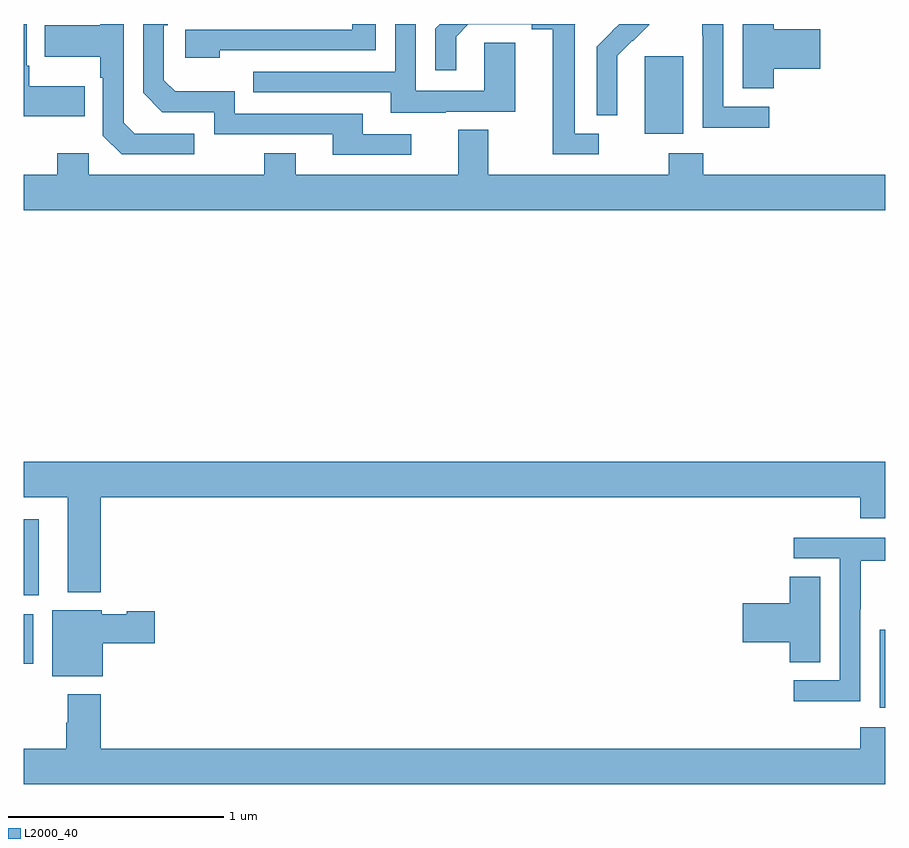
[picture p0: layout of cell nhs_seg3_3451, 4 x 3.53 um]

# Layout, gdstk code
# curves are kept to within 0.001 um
import gdstk
lib = gdstk.Library(unit=1e-6, precision=1e-09)
def R(c, l, rs):  # rectangles x0, y0, x1, y1
    for r in rs: c.add(gdstk.rectangle(r[:2], r[2:], *l))
def P(c, l, *ps):  # polygons
    for p in ps: c.add(gdstk.Polygon(p, *l))
L2000_40 = (2000, 40)

nhs_seg3_3451 = lib.new_cell('nhs_seg3_3451')
R(nhs_seg3_3451, L2000_40, [(292.973,745.226,293,745.587), (289,745.43,289.045,745.66), (289,745.748,289.069,746.101), (291.884,747.89,292.063,748.251)])
P(nhs_seg3_3451, L2000_40, [(289.792,747.891),(289.515,747.891),(289.464,747.942),(289.464,748.4),(289.356,748.4),(289.356,748.395),(289.099,748.395),(289.099,748.247),(289.356,748.247),(289.356,748.151),(289.368,748.151),(289.368,747.882),(289.455,747.795),(289.792,747.795)],
  [(291.756,748.13),(291.755,748.253),(291.825,748.323),(291.828,748.32),(291.905,748.397),(291.905,748.4),(291.764,748.4),(291.66,748.294),(291.66,747.976),(291.756,747.976)],
  [(289.91,748.278),(290.634,748.278),(290.634,748.4),(290.525,748.4),(290.525,748.374),(289.749,748.374),(289.749,748.244),(289.91,748.244)],
  [(290.959,747.993),(291.283,747.993),(291.283,748.313),(291.138,748.313),(291.138,748.089),(290.82,748.089),(290.82,748.4),(290.724,748.4),(290.724,748.179),(290.065,748.179),(290.065,748.083),(290.705,748.083),(290.705,747.989),(290.959,747.989)],
  [(292.462,748.017),(292.248,748.017),(292.248,748.4),(292.15,748.4),(292.15,748.348),(292.152,748.348),(292.152,747.919),(292.462,747.919)],
  [(291.67,747.891),(291.559,747.891),(291.56,748.4),(290.932,748.4),(290.91,748.378),(290.91,748.185),(291.007,748.185),(291.007,748.341),(291.064,748.398),(291.359,748.398),(291.359,748.376),(291.455,748.376),(291.455,747.795),(291.67,747.795)],
  [(292.481,748.193),(292.699,748.193),(292.699,748.376),(292.481,748.376),(292.481,748.4),(292.337,748.4),(292.337,748.102),(292.481,748.102)],
  [(290.8,747.888),(290.575,747.888),(290.575,747.984),(289.98,747.984),(289.98,748.087),(289.703,748.087),(289.65,748.14),(289.65,748.394),(289.67,748.394),(289.67,748.4),(289.554,748.4),(289.554,748.08),(289.644,747.99),(289.884,747.99),(289.884,747.888),(290.435,747.888),(290.435,747.792),(290.8,747.792)],
  [(289.283,748.111),(289.027,748.111),(289.027,748.207),(289.014,748.207),(289.014,748.4),(289,748.4),(289,747.971),(289.283,747.971)],
  [(293,747.7),(292.154,747.7),(292.154,747.799),(291.994,747.799),(291.994,747.7),(291.157,747.7),(291.157,747.908),(291.017,747.908),(291.017,747.7),(290.263,747.7),(290.263,747.799),(290.116,747.799),(290.116,747.7),(289.302,747.7),(289.302,747.799),(289.156,747.799),(289.156,747.7),(289,747.7),(289,747.536),(293,747.536)],
  [(289.358,746.204),(292.883,746.204),(292.883,746.105),(293,746.105),(293,746.368),(289,746.368),(289,746.204),(289.205,746.204),(289.205,745.763),(289.358,745.763)],
  [(292.884,745.684),(292.887,745.684),(292.887,745.908),(293,745.908),(293,746.016),(292.575,746.016),(292.575,745.92),(292.788,745.92),(292.788,745.353),(292.575,745.353),(292.575,745.255),(292.884,745.255)],
  [(292.699,745.835),(292.556,745.835),(292.556,745.712),(292.338,745.712),(292.338,745.529),(292.556,745.529),(292.556,745.438),(292.699,745.438)],
  [(289.366,745.526),(289.609,745.526),(289.609,745.673),(289.479,745.673),(289.479,745.66),(289.362,745.66),(289.362,745.678),(289.133,745.678),(289.133,745.373),(289.366,745.373)],
  [(293,745.135),(292.883,745.135),(292.883,745.036),(289.358,745.036),(289.358,745.288),(289.205,745.288),(289.205,745.157),(289.198,745.157),(289.198,745.036),(289,745.036),(289,744.872),(293,744.872)])

lib.write_gds('nhs_seg3_3451.gds')
